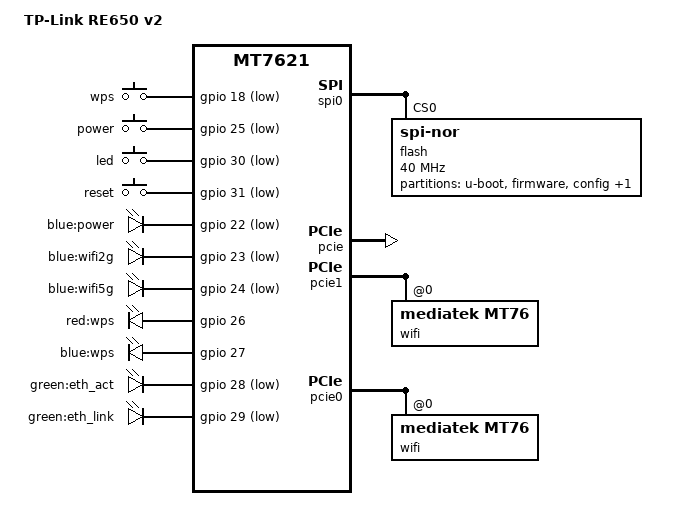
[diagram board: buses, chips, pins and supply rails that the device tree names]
// SPDX-License-Identifier: GPL-2.0-or-later OR MIT

#include "mt7621.dtsi"

#include <dt-bindings/gpio/gpio.h>
#include <dt-bindings/input/input.h>

/ {
	compatible = "tplink,re650-v2", "mediatek,mt7621-soc";
	model = "TP-Link RE650 v2";

	aliases {
		label-mac-device = &gmac0;
		led-boot = &led_power;
		led-failsafe = &led_power;
		led-running = &led_power;
		led-upgrade = &led_power;
	};

	keys {
		compatible = "gpio-keys";

		wps {
			label = "wps";
			gpios = <&gpio 18 GPIO_ACTIVE_LOW>;
			debounce-interval = <60>;
			linux,code = <KEY_WPS_BUTTON>;
		};

		power {
			label = "power";
			gpios = <&gpio 25 GPIO_ACTIVE_LOW>;
			debounce-interval = <60>;
			linux,code = <KEY_POWER>;
		};

		led {
			label = "led";
			gpios = <&gpio 30 GPIO_ACTIVE_LOW>;
			debounce-interval = <60>;
			linux,code = <KEY_LIGHTS_TOGGLE>;
		};

		reset {
			label = "reset";
			gpios = <&gpio 31 GPIO_ACTIVE_LOW>;
			debounce-interval = <60>;
			linux,code = <KEY_RESTART>;
		};
	};

	leds {
		compatible = "gpio-leds";

		led_power: power {
			label = "blue:power";
			gpios = <&gpio 22 GPIO_ACTIVE_LOW>;
		};

		wifi2g {
			label = "blue:wifi2g";
			gpios = <&gpio 23 GPIO_ACTIVE_LOW>;
			linux,default-trigger = "phy0tpt";
		};

		wifi5g {
			label = "blue:wifi5g";
			gpios = <&gpio 24 GPIO_ACTIVE_LOW>;
			linux,default-trigger = "phy1tpt";
		};

		wps_red {
			label = "red:wps";
			gpios = <&gpio 26 GPIO_ACTIVE_HIGH>;
		};

		wps_blue {
			label = "blue:wps";
			gpios = <&gpio 27 GPIO_ACTIVE_HIGH>;
		};

		eth_act {
			label = "green:eth_act";
			gpios = <&gpio 28 GPIO_ACTIVE_LOW>;
		};

		eth_link {
			label = "green:eth_link";
			gpios = <&gpio 29 GPIO_ACTIVE_LOW>;
		};
	};
};

&spi0 {
	status = "okay";

	flash@0 {
		compatible = "jedec,spi-nor";
		reg = <0>;
		spi-max-frequency = <40000000>;

		partitions {
			compatible = "fixed-partitions";
			#address-cells = <1>;
			#size-cells = <1>;

			partition@0 {
				label = "u-boot";
				reg = <0x0 0x20000>;
				read-only;
			};

			partition@20000 {
				compatible = "tplink,firmware";
				label = "firmware";
				reg = <0x20000 0x7a0000>;
			};

			config: partition@7c0000 {
				label = "config";
				reg = <0x7c0000 0x2d440>;
				read-only;
			};

			radio: partition@7f0000 {
				label = "radio";
				reg = <0x7f0000 0x10000>;
				read-only;
			};
		};
	};
};

&state_default {
	gpio {
		groups = "rgmii2", "wdt";
		function = "gpio";
	};
};

&pcie {
	status = "okay";
};

&pcie1 {
	wifi@0,0 {
		compatible = "mediatek,mt76";
		reg = <0x0000 0 0 0 0>;
		mediatek,mtd-eeprom = <&radio 0x0>;
		nvmem-cells = <&macaddr_config_10008>;
		nvmem-cell-names = "mac-address";
		mac-address-increment = <1>;
		ieee80211-freq-limit = <2400000 2500000>;
	};
};

&pcie0 {
	wifi@0,0 {
		compatible = "mediatek,mt76";
		reg = <0x0000 0 0 0 0>;
		mediatek,mtd-eeprom = <&radio 0x8000>;
		nvmem-cells = <&macaddr_config_10008>;
		nvmem-cell-names = "mac-address";
		mac-address-increment = <2>;
		ieee80211-freq-limit = <5000000 6000000>;
	};
};

&ethernet {
	pinctrl-0 = <&mdio_pins>, <&rgmii1_pins>;
};

&gmac0 {
	nvmem-cells = <&macaddr_config_10008>;
	nvmem-cell-names = "mac-address";
};

&switch0 {
	ports {
		port@0 {
			status = "okay";
			label = "lan";
		};
	};
};

&config {
	compatible = "nvmem-cells";
	#address-cells = <1>;
	#size-cells = <1>;

	macaddr_config_10008: macaddr@10008 {
		reg = <0x10008 0x6>;
	};
};
